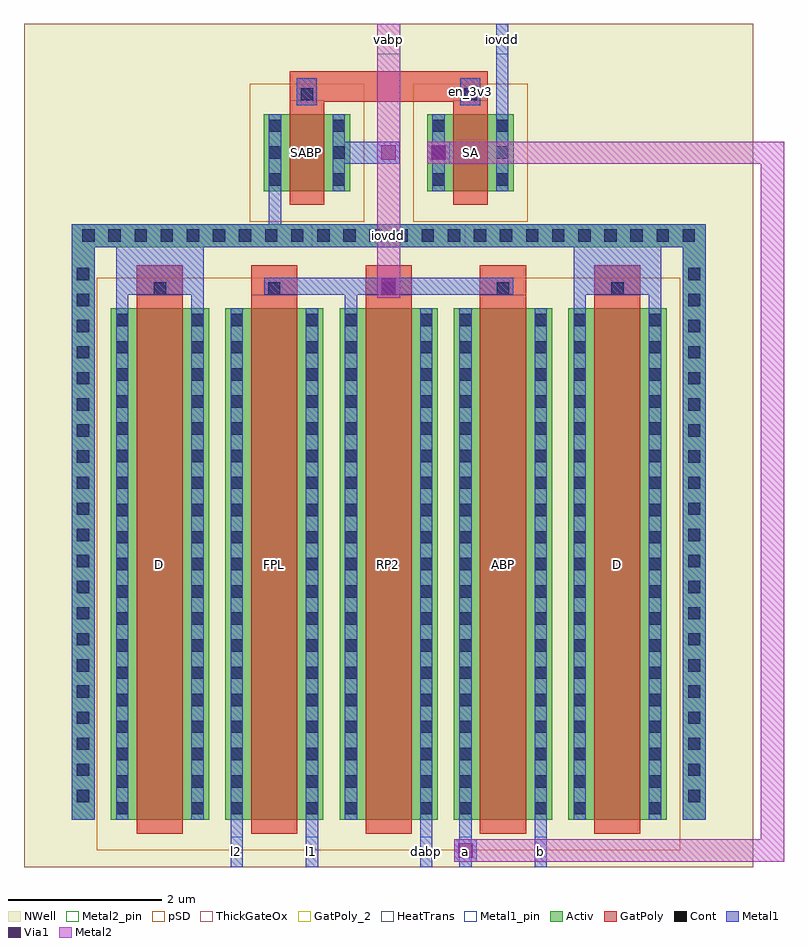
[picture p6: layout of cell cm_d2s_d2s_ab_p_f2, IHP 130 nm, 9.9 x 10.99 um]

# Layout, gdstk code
from math import pi, radians
import gdstk
lib = gdstk.Library(unit=1e-6, precision=1e-09)
def R(c, l, rs):  # rectangles x0, y0, x1, y1
    for r in rs: c.add(gdstk.rectangle(r[:2], r[2:], *l))
def A(c, l, x, y, w, h, nx, ny, dx, dy):  # array of equal rectangles
    R(c, l, [(x+i*dx, y+j*dy, x+i*dx+w, y+j*dy+h) for i in range(nx) for j in range(ny)])
Activ = (1, 0)
GatPoly = (5, 0)
GatPoly_2 = (5, 2)
Cont = (6, 0)
Metal1 = (8, 0)
Metal1_pin = (8, 2)
Metal2 = (10, 0)
Metal2_pin = (10, 2)
pSD = (14, 0)
Via1 = (19, 0)
NWell = (31, 0)
ThickGateOx = (44, 0)
HeatTrans = (51, 0)

cm_d2s_pmoshv_w6p66_l0p6 = lib.new_cell('cm_d2s_pmosHV_w6p66_l0p6')
R(cm_d2s_pmoshv_w6p66_l0p6, Activ, [(0,0,0.3,0.3), (0,0,1.28,6.66), (0.98,0,1.28,0.3)])
R(cm_d2s_pmoshv_w6p66_l0p6, GatPoly, [(0.34,-0.18,0.94,6.84)])
R(cm_d2s_pmoshv_w6p66_l0p6, GatPoly_2, [(0.34,-0.18,0.94,6.84)])
A(cm_d2s_pmoshv_w6p66_l0p6, Cont, 0.07, 0.42, 0.16, 0.16, 1, 3, 0, 0.355)
A(cm_d2s_pmoshv_w6p66_l0p6, Cont, 1.05, 0.42, 0.16, 0.16, 1, 3, 0, 0.355)
A(cm_d2s_pmoshv_w6p66_l0p6, Cont, 0.07, 1.48, 0.16, 0.16, 1, 3, 0, 0.355)
A(cm_d2s_pmoshv_w6p66_l0p6, Cont, 1.05, 1.48, 0.16, 0.16, 1, 3, 0, 0.355)
A(cm_d2s_pmoshv_w6p66_l0p6, Cont, 0.07, 2.54, 0.16, 0.16, 1, 3, 0, 0.355)
A(cm_d2s_pmoshv_w6p66_l0p6, Cont, 1.05, 2.54, 0.16, 0.16, 1, 3, 0, 0.355)
A(cm_d2s_pmoshv_w6p66_l0p6, Cont, 0.07, 3.6, 0.16, 0.16, 1, 3, 0, 0.355)
A(cm_d2s_pmoshv_w6p66_l0p6, Cont, 1.05, 3.6, 0.16, 0.16, 1, 3, 0, 0.355)
A(cm_d2s_pmoshv_w6p66_l0p6, Cont, 0.07, 4.66, 0.16, 0.16, 1, 3, 0, 0.355)
A(cm_d2s_pmoshv_w6p66_l0p6, Cont, 1.05, 4.66, 0.16, 0.16, 1, 3, 0, 0.355)
A(cm_d2s_pmoshv_w6p66_l0p6, Cont, 0.07, 5.72, 0.16, 0.16, 1, 3, 0, 0.355)
A(cm_d2s_pmoshv_w6p66_l0p6, Cont, 1.05, 5.72, 0.16, 0.16, 1, 3, 0, 0.355)
R(cm_d2s_pmoshv_w6p66_l0p6, Cont, [(0.07,0.07,0.23,0.23), (1.05,0.07,1.21,0.23)])
R(cm_d2s_pmoshv_w6p66_l0p6, Metal1, [(0.07,0,0.23,6.66), (1.05,0,1.21,6.66)])
R(cm_d2s_pmoshv_w6p66_l0p6, Metal1_pin, [(0.07,0,0.23,6.66), (1.05,0,1.21,6.66)])
R(cm_d2s_pmoshv_w6p66_l0p6, pSD, [(-0.18,-0.4,1.46,7.06)])
R(cm_d2s_pmoshv_w6p66_l0p6, NWell, [(-0.62,-0.62,1.9,7.28)])
R(cm_d2s_pmoshv_w6p66_l0p6, ThickGateOx, [(-0.62,-0.62,1.9,7.28)])
R(cm_d2s_pmoshv_w6p66_l0p6, HeatTrans, [(0.34,-0.18,0.94,6.84)])
cm_d2s_pmoshv_w6p66_l0p6.add(gdstk.Label('pmosHV', (0.64,3.33), layer=63, texttype=0))
cm_d2s_pmoshv_w6p66_l0p6.add(gdstk.Label('pmos', (0.64,3.33), layer=51, texttype=0))

cm_d2s_pmoshv_w1_l0p45 = lib.new_cell('cm_d2s_pmosHV_w1_l0p45')
R(cm_d2s_pmoshv_w1_l0p45, Activ, [(0,0,0.3,0.3), (0,0,1.13,1), (0.83,0,1.13,0.3)])
R(cm_d2s_pmoshv_w1_l0p45, GatPoly, [(0.34,-0.18,0.79,1.18)])
R(cm_d2s_pmoshv_w1_l0p45, GatPoly_2, [(0.34,-0.18,0.79,1.18)])
A(cm_d2s_pmoshv_w1_l0p45, Cont, 0.07, 0.07, 0.16, 0.16, 1, 3, 0, 0.35)
A(cm_d2s_pmoshv_w1_l0p45, Cont, 0.9, 0.07, 0.16, 0.16, 1, 3, 0, 0.35)
R(cm_d2s_pmoshv_w1_l0p45, Metal1, [(0.07,0,0.23,1), (0.9,0,1.06,1)])
R(cm_d2s_pmoshv_w1_l0p45, Metal1_pin, [(0.07,0,0.23,1), (0.9,0,1.06,1)])
R(cm_d2s_pmoshv_w1_l0p45, pSD, [(-0.18,-0.4,1.31,1.4)])
R(cm_d2s_pmoshv_w1_l0p45, NWell, [(-0.62,-0.62,1.75,1.62)])
R(cm_d2s_pmoshv_w1_l0p45, ThickGateOx, [(-0.62,-0.62,1.75,1.62)])
R(cm_d2s_pmoshv_w1_l0p45, HeatTrans, [(0.34,-0.18,0.79,1.18)])
cm_d2s_pmoshv_w1_l0p45.add(gdstk.Label('pmosHV', (0.565,0.5), layer=63, texttype=0))
cm_d2s_pmoshv_w1_l0p45.add(gdstk.Label('pmos', (0.565,0.5), layer=51, texttype=0))

cm_d2s_d2s_ab_p_f2 = lib.new_cell('cm_d2s_d2s_ab_p_f2')
R(cm_d2s_d2s_ab_p_f2, Activ, [(0.62,0.62,0.92,8.08), (8.58,0.62,8.88,8.08), (0.62,8.08,8.88,8.38)])
A(cm_d2s_d2s_ab_p_f2, GatPoly, 1.47, 7.28, 0.6, 0.56, 5, 1, 1.49, 0)
R(cm_d2s_d2s_ab_p_f2, GatPoly, [(3.46,9.81,3.91,10.37), (5.59,9.81,6.04,10.37), (3.46,9.97,6.04,10.37)])
A(cm_d2s_d2s_ab_p_f2, Cont, 0.69, 0.85, 0.16, 0.16, 1, 21, 0, 0.34)
A(cm_d2s_d2s_ab_p_f2, Cont, 8.65, 0.85, 0.16, 0.16, 1, 21, 0, 0.34)
A(cm_d2s_d2s_ab_p_f2, Cont, 1.69, 7.46, 0.16, 0.16, 5, 1, 1.49, 0)
A(cm_d2s_d2s_ab_p_f2, Cont, 0.76, 8.15, 0.16, 0.16, 24, 1, 0.34, 0)
R(cm_d2s_d2s_ab_p_f2, Cont, [(3.605,9.99,3.765,10.15), (5.735,9.99,5.895,10.15)])
R(cm_d2s_d2s_ab_p_f2, Metal1, [(2.69,0,2.85,0.62), (3.67,0,3.83,0.62), (5.16,0,5.32,0.62), (5.67,0,5.83,0.62), (6.65,0,6.81,0.62), (5.605,0.075,5.895,0.365), (0.62,0.62,0.92,8.08), (8.58,0.62,8.88,8.08), (1.2,7.28,1.36,8.08), (2.18,7.28,2.34,8.08), (4.18,7.28,4.34,7.46), (7.16,7.28,7.32,8.08), (8.14,7.28,8.3,8.08), (1.2,7.46,2.34,8.38), (3.13,7.46,6.37,7.68), (7.16,7.46,8.3,8.38), (0.62,8.08,8.88,8.38), (3.19,8.15,3.35,8.81), (4.02,9.165,4.895,9.455), (5.255,9.165,5.545,9.455), (6.15,9.81,6.31,10.99), (3.555,9.93,3.815,10.28), (5.685,9.93,5.945,10.28)])
R(cm_d2s_d2s_ab_p_f2, Metal1_pin, [(2.69,0,2.85,0.4), (3.67,0,3.83,0.4), (5.16,0,5.32,0.4), (5.67,0,5.83,0.4), (6.65,0,6.81,0.4), (3.75,8.08,5.75,8.38), (5.685,9.93,5.945,10.28), (6.15,10.59,6.31,10.99)])
R(cm_d2s_d2s_ab_p_f2, Metal2, [(5.605,0.075,9.9,0.365), (9.6,0.075,9.9,9.455), (4.6,7.42,4.9,10.99), (5.255,9.165,9.9,9.455)])
R(cm_d2s_d2s_ab_p_f2, Metal2_pin, [(4.6,10.59,4.9,10.99)])
R(cm_d2s_d2s_ab_p_f2, Via1, [(5.655,0.125,5.845,0.315), (4.655,7.475,4.845,7.665), (4.655,9.215,4.845,9.405), (5.305,9.215,5.495,9.405)])
R(cm_d2s_d2s_ab_p_f2, NWell, [(0,0,9.5,10.99)])
R(cm_d2s_d2s_ab_p_f2, ThickGateOx, [(0,0,9.5,10.99)])
cm_d2s_d2s_ab_p_f2.add(gdstk.Reference(cm_d2s_pmoshv_w6p66_l0p6, (1.13,0.62)))
cm_d2s_d2s_ab_p_f2.add(gdstk.Reference(cm_d2s_pmoshv_w6p66_l0p6, (2.62,0.62)))
cm_d2s_d2s_ab_p_f2.add(gdstk.Reference(cm_d2s_pmoshv_w6p66_l0p6, (4.11,0.62)))
cm_d2s_d2s_ab_p_f2.add(gdstk.Reference(cm_d2s_pmoshv_w6p66_l0p6, (6.88,0.62), rotation=pi, x_reflection=True))
cm_d2s_d2s_ab_p_f2.add(gdstk.Reference(cm_d2s_pmoshv_w6p66_l0p6, (8.37,0.62), rotation=pi, x_reflection=True))
cm_d2s_d2s_ab_p_f2.add(gdstk.Reference(cm_d2s_pmoshv_w1_l0p45, (3.12,8.81)))
cm_d2s_d2s_ab_p_f2.add(gdstk.Reference(cm_d2s_pmoshv_w1_l0p45, (5.25,8.81)))
cm_d2s_d2s_ab_p_f2.add(gdstk.Label('D', (1.77,3.95), layer=63, texttype=0))
cm_d2s_d2s_ab_p_f2.add(gdstk.Label('FPL', (3.26,3.95), layer=63, texttype=0))
cm_d2s_d2s_ab_p_f2.add(gdstk.Label('RP2', (4.75,3.95), layer=63, texttype=0))
cm_d2s_d2s_ab_p_f2.add(gdstk.Label('ABP', (6.24,3.95), layer=63, texttype=0))
cm_d2s_d2s_ab_p_f2.add(gdstk.Label('D', (7.73,3.95), layer=63, texttype=0))
cm_d2s_d2s_ab_p_f2.add(gdstk.Label('SABP', (3.685,9.31), layer=63, texttype=0))
cm_d2s_d2s_ab_p_f2.add(gdstk.Label('SA', (5.815,9.31), layer=63, texttype=0))
cm_d2s_d2s_ab_p_f2.add(gdstk.Label('vabp', (4.75,10.79), layer=10, texttype=25))
cm_d2s_d2s_ab_p_f2.add(gdstk.Label('iovdd', (6.23,10.79), layer=8, texttype=25))
cm_d2s_d2s_ab_p_f2.add(gdstk.Label('iovdd', (4.75,8.23), layer=8, texttype=25))
cm_d2s_d2s_ab_p_f2.add(gdstk.Label('en_3v3', (5.815,10.105), layer=8, texttype=25))
cm_d2s_d2s_ab_p_f2.add(gdstk.Label('l1', (3.75,0.2), layer=8, texttype=25))
cm_d2s_d2s_ab_p_f2.add(gdstk.Label('l2', (2.77,0.2), layer=8, texttype=25))
cm_d2s_d2s_ab_p_f2.add(gdstk.Label('dabp', (5.24,0.2), layer=8, texttype=25))
cm_d2s_d2s_ab_p_f2.add(gdstk.Label('b', (6.73,0.2), layer=8, texttype=25))
cm_d2s_d2s_ab_p_f2.add(gdstk.Label('a', (5.75,0.2), layer=8, texttype=25))

lib.write_gds('cm_d2s_d2s_ab_p_f2.gds')
